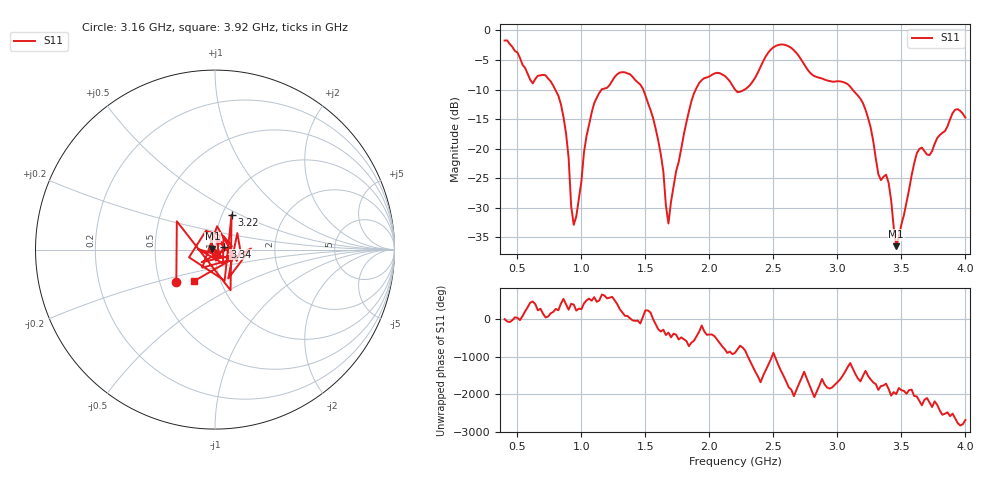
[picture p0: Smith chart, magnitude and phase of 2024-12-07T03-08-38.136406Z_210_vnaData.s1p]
!Created with skrf (http://scikit-rf.org).
# Hz S RI R 50.0
!freq ReS11 ImS11
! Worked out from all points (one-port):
!   181 points, 400 MHz to 4 GHz, reference 50 ohm
!   lowest |S11| = -36.5 dB at 3.46 GHz (marker M1), VSWR 1.03, Z = 48.6 + j0.42 ohm
!   |S11| at or under -10 dB: 795.7 MHz to 1.158 GHz (362 MHz wide, 37.1 % of centre); 1.483 GHz to 1.893 GHz (410.3 MHz wide, 24.3 % of centre); 3.118 GHz to end of sweep (the widest 3 of 4)
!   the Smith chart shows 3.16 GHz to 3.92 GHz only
!   S11 on the Smith chart (normalised r, x): 3.16 GHz: 0.61, -0.24; 3.22 GHz: 1.11, +0.45; 3.34 GHz: 1.11, +0.04; 3.92 GHz: 0.74, -0.28
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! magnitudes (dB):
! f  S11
! 400 MHz  -1.7
! 620 MHz  -8.9
! 760 MHz  -8.6
! 860 MHz  -14.6
! 900 MHz  -21.5
! 940 MHz  -32.9
! 1.1 GHz  -12.3
! 1.3 GHz  -7.1
! 1.54 GHz  -13.4
! 1.62 GHz  -20.9
! 1.68 GHz  -32.6
! 1.76 GHz  -22.2
! 1.92 GHz  -8.9
! 2.08 GHz  -7.2
! 2.2 GHz  -10.0
! 2.5 GHz  -2.9
! 2.66 GHz  -3.3
! 3.1 GHz  -9.5
! 3.16 GHz  -11.0
! 3.22 GHz  -13.4
! 3.34 GHz  -25.3
! 3.4 GHz  -25.8
! 3.46 GHz  -36.5
! 3.56 GHz  -26.9
! 3.64 GHz  -20.0
! 3.72 GHz  -21.1
! 3.92 GHz  -13.4
! 4 GHz  -14.8
